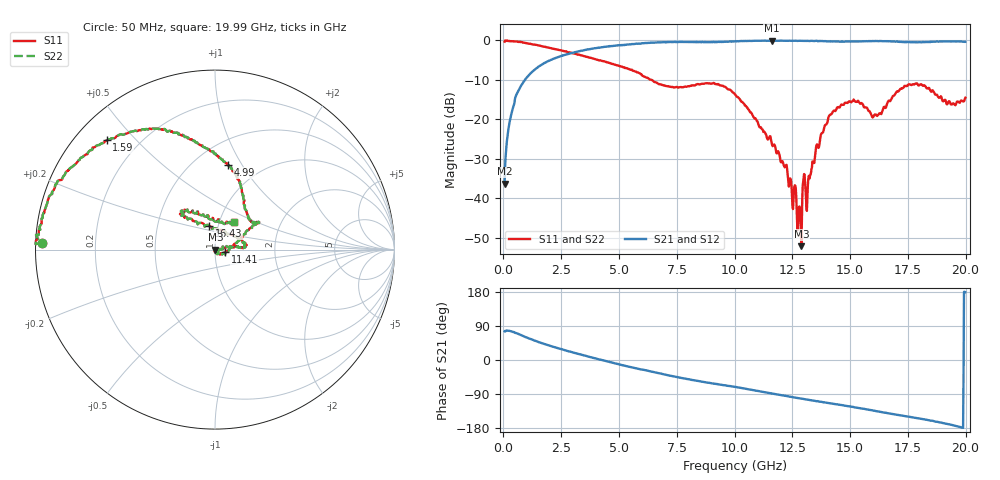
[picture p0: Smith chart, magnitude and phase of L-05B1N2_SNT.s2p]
! Data Taken on a HP 8720C VNA using a shunt-through fixture with TRL* de-embedding
#	mhz	s	ma	r	50
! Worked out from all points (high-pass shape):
!   998 points, 50 MHz to 19.99 GHz, reference 50 ohm
!   highest |S21| = -0.04 dB at 11.61 GHz (marker M1); lowest = -36.2 dB at 50 MHz (marker M2)
!   |S21| within 3 dB of the highest: 3.068 GHz to end of sweep
!   lowest |S11| = -52.1 dB at 12.89 GHz (marker M3), VSWR 1.00, Z = 50.2 - j0.114 ohm
!   |S11| at or under -10 dB: 6.418 GHz to end of sweep
!   |S22| runs from -52.1 to 0.0 dB; largest |S21 - S12| = 0
!   S11 on the Smith chart (normalised r, x): 50 MHz: 0.02, +0.02; 1.59 GHz: 0.09, +0.41; 4.99 GHz: 0.71, +0.87; 11.41 GHz: 1.12, -0.03; 16.43 GHz: 0.91, +0.24; 19.99 GHz: 1.17, +0.38
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50  0.9668 177.7  0.01542 75.7  0.01542 75.7  0.9668 177.7
230  0.9858 173.2  0.08048 76.9  0.08048 76.9  0.9858 173.2
570  0.9702 162.6  0.2092 70.7  0.2092 70.7  0.9702 162.6
1590  0.8575 134.8  0.4813 45.9  0.4813 45.9  0.8575 134.8
3390  0.6461 104.0  0.7434 13.7  0.7434 13.7  0.6461 104.0
4990  0.4776 81.1  0.8683 -11.4  0.8683 -11.4  0.4776 81.1
6710  0.2815 53.8  0.9447 -34.6  0.9447 -34.6  0.2815 53.8
10030  0.207 30.7  0.9755 -70.9  0.9755 -70.9  0.207 30.7
11410  0.05761 -15.2  0.9922 -86.1  0.9922 -86.1  0.05761 -15.2
11610  0.04994 -22.2  0.9959 -88.2  0.9959 -88.2  0.04994 -22.2
12210  0.0262 -68.5  0.9913 -94.6  0.9913 -94.6  0.0262 -68.5
12810  0.00791 -37.1  0.9908 -101.1  0.9908 -101.1  0.00791 -37.1
12890  0.00249 -27.0  0.9896 -102.0  0.9896 -102.0  0.00249 -27.0
13010  0.02037 -15.0  0.9882 -103.0  0.9882 -103.0  0.02037 -15.0
13150  0.01027 -33.1  0.9891 -104.4  0.9891 -104.4  0.01027 -33.1
13350  0.02465 -3.2  0.9889 -106.9  0.9889 -106.9  0.02465 -3.2
14490  0.1438 5.6  0.9702 -117.6  0.9702 -117.6  0.1438 5.6
16430  0.1361 103.5  0.9796 -138.0  0.9796 -138.0  0.1361 103.5
16670  0.1733 121.4  0.9779 -140.9  0.9779 -140.9  0.1733 121.4
17830  0.2842 130.2  0.9465 -152.4  0.9465 -152.4  0.2842 130.2
19770  0.1678 62.8  0.9724 -176.9  0.9724 -176.9  0.1678 62.8
19990  0.1886 55.5  0.9614 179.0  0.9614 179.0  0.1886 55.5
